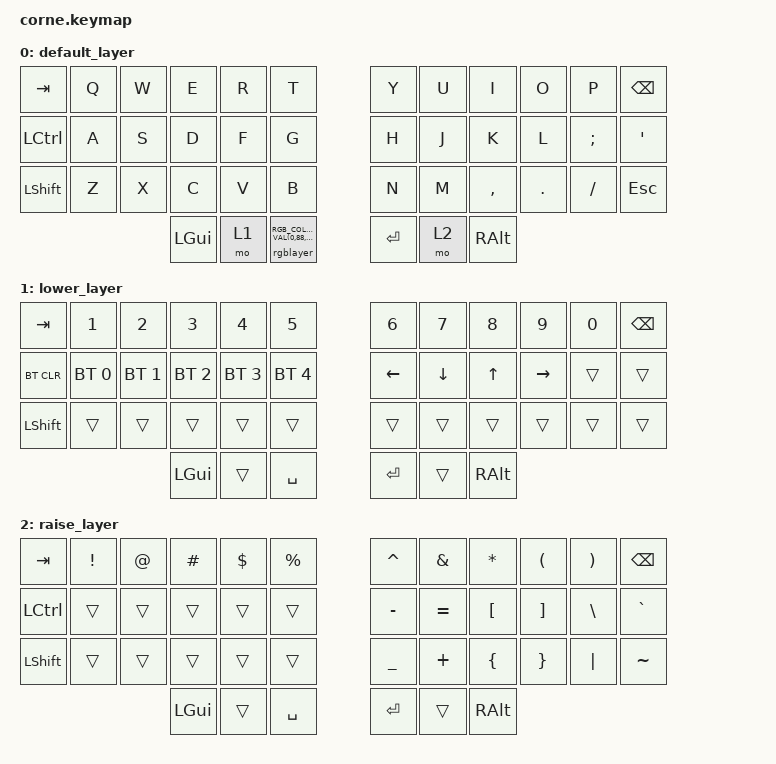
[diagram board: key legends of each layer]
/*
 * Copyright (c) 2020 The ZMK Contributors
 *
 * SPDX-License-Identifier: MIT
 */

#include <behaviors.dtsi>
#include <dt-bindings/zmk/bt.h>
#include <dt-bindings/zmk/keys.h>
#include <dt-bindings/zmk/rgb.h>

/ {
    combos {
        compatible = "zmk,combos";

        commacombo {
            bindings = <&kp SEMICOLON>;
            key-positions = <32 33>;
        };
    };

    macros {
        rgblayer: rgblayer {
            compatible = "zmk,behavior-macro-two-param";
            #binding-cells = <2>;
            bindings =
                <&macro_press>,
                <&macro_param_1to1 &macro_param_2to2 &lt MACRO_PLACEHOLDER MACRO_PLACEHOLDER>,
                <&macro_tap>,
                <&macro_param_2to2 &rgb_ug RGB_COLOR_HSB_CMD MACRO_PLACEHOLDER>,
                <&macro_pause_for_release>,
                <&macro_release>,
                <&macro_param_1to1 &mo MACRO_PLACEHOLDER>,
                <&macro_tap>,
                <&rgb_ug RGB_COLOR_HSB(0,0,0)>;

            label = "RGBLAYER";
        };
    };

    keymap {
        compatible = "zmk,keymap";

        default_layer {
            // -----------------------------------------------------------------------------------------
            // |  TAB |  Q  |  W  |  E  |  R  |  T  |   |  Y  |  U   |  I  |  O  |  P  | BSPC |
            // | CTRL |  A  |  S  |  D  |  F  |  G  |   |  H  |  J   |  K  |  L  |  ;  |  '   |
            // | SHFT |  Z  |  X  |  C  |  V  |  B  |   |  N  |  M   |  ,  |  .  |  /  | ESC  |
            //                    | GUI | LWR | SPC |   | ENT | RSE  | ALT |

            bindings = <
&kp TAB    &kp Q  &kp W  &kp E     &kp R  &kp T                                     &kp Y    &kp U  &kp I      &kp O    &kp P     &kp BSPC
&kp LCTRL  &kp A  &kp S  &kp D     &kp F  &kp G                                     &kp H    &kp J  &kp K      &kp L    &kp SEMI  &kp SQT
&kp LSHFT  &kp Z  &kp X  &kp C     &kp V  &kp B                                     &kp N    &kp M  &kp COMMA  &kp DOT  &kp FSLH  &kp ESC
                         &kp LGUI  &mo 1  &rgblayer RGB_COLOR_HSB_VAL(0,88,50) 1    &kp RET  &mo 2  &kp RALT
            >;
        };

        lower_layer {
            // -----------------------------------------------------------------------------------------
            // |  TAB |  1  |  2  |  3  |  4  |  5  |   |  6  |  7  |  8  |  9  |  0  | BSPC |
            // | BTCLR| BT1 | BT2 | BT3 | BT4 | BT5 |   | LFT | DWN |  UP | RGT |     |      |
            // | SHFT |     |     |     |     |     |   |     |     |     |     |     |      |
            //                    | GUI |     | SPC |   | ENT |     | ALT |

            bindings = <
&kp TAB     &kp N1        &kp N2        &kp N3        &kp N4        &kp N5          &kp N6    &kp N7    &kp N8    &kp N9     &kp N0  &kp BSPC
&bt BT_CLR  &bt BT_SEL 0  &bt BT_SEL 1  &bt BT_SEL 2  &bt BT_SEL 3  &bt BT_SEL 4    &kp LEFT  &kp DOWN  &kp UP    &kp RIGHT  &trans  &trans
&kp LSHFT   &trans        &trans        &trans        &trans        &trans          &trans    &trans    &trans    &trans     &trans  &trans
                                        &kp LGUI      &trans        &kp SPACE       &kp RET   &trans    &kp RALT
            >;
        };

        raise_layer {
            // -----------------------------------------------------------------------------------------
            // |  TAB |  !  |  @  |  #  |  $  |  %  |   |  ^  |  &  |  *  |  (  |  )  | BSPC |
            // | CTRL |     |     |     |     |     |   |  -  |  =  |  [  |  ]  |  \  |  `   |
            // | SHFT |     |     |     |     |     |   |  _  |  +  |  {  |  }  | "|" |  ~   |
            //                    | GUI |     | SPC |   | ENT |     | ALT |

            bindings = <
&kp TAB    &kp EXCL  &kp AT  &kp HASH  &kp DLLR  &kp PRCNT    &kp CARET  &kp AMPS   &kp ASTRK  &kp LPAR  &kp RPAR  &kp BSPC
&kp LCTRL  &trans    &trans  &trans    &trans    &trans       &kp MINUS  &kp EQUAL  &kp LBKT   &kp RBKT  &kp BSLH  &kp GRAVE
&kp LSHFT  &trans    &trans  &trans    &trans    &trans       &kp UNDER  &kp PLUS   &kp LBRC   &kp RBRC  &kp PIPE  &kp TILDE
                             &kp LGUI  &trans    &kp SPACE    &kp RET    &trans     &kp RALT
            >;
        };
    };
};
